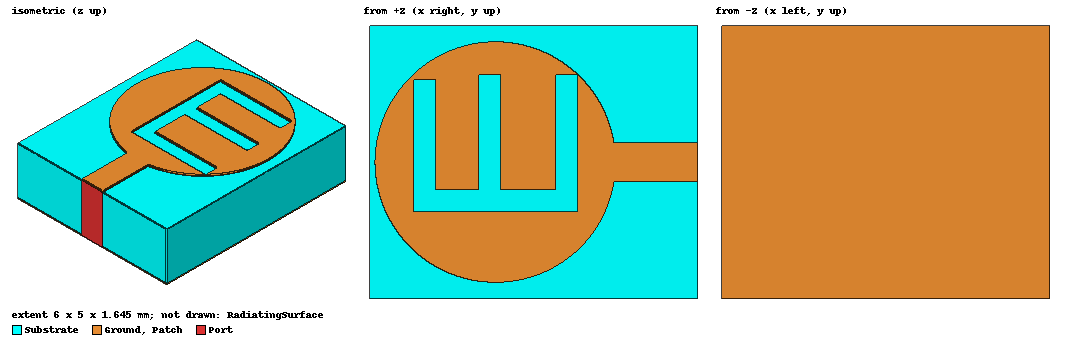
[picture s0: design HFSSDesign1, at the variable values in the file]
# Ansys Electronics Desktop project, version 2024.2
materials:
  vacuum: permittivity=1
  copper: permeability=0.999991 conductivity=58000000
  Rogers RT/duroid 5880 (tm): permittivity=2.2 dielectric_loss_tangent=0.0009
  PET: permittivity=3.6

design HFSSDesign1 (HFSS, HFSS Terminal Network, model units mm)
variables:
  Lg = 6mm
  W = 5mm
  Wg = 4
  Hp = 0.035mm
  Hs = 1.575mm
  a = 0.3mm
  Rp = 2.2mm
  Wf = 0.7mm
  Lf = 1.65mm
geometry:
  Ground [copper] = box(corner=(0mm, 0mm, 0mm), size=(Lg, W, Hp))
  Substrate [Rogers RT/duroid 5880 (tm)] = box(corner=(0mm, 0mm, Hp), size=(Lg, W, Hs))
  Patch [copper] = cylinder(axis=Z, base_centre=(a+Rp, W/2, Hp+Hs), radius=Rp, height=Hp)
  Feedline = box(corner=(a/2+2*Rp, W/2-Wf/2, Hp+Hs), size=(Lf, Wf, Hp))
  Patch.unite(Feedline)
  Port = rectangle(corner=(Lg, W/2-Wf/2, Hp+Hs), y_size=Wf, z_size=-(Hp+Hs))
  RadiatingSurface [vacuum] = region(absolute_offset=3.5714286mm on all sides)
  Patch.move(-0.2mm, 0mm, 0mm)
  Patch.move(0.4mm, 0mm, 0mm)
  Patch.move(-0.4mm, 0mm, 0mm)
  Patch.move(0.8mm, 0mm, 0mm)
  Patch.move(0.4mm, 0mm, 0mm)
  Patch.move(-0.4mm, 0mm, 0mm)
  Patch.move(-0.8mm, 0mm, 0mm)
  Slot_1 = box(corner=(0.8mm, 1.6mm, 0mm), size=(3mm, 0.4mm, 6mm))
  Slot_2 = box(corner=(0.8mm, 2mm, 0mm), size=(0.4mm, 2mm, 4.2mm))
  Slot_3 = box(corner=(0.8mm, 2mm, 0mm), size=(0.4mm, 2.2mm, 4.2mm))
  Slot_3.move(1.2mm, -0.1mm, 0mm)
  Slot_4 = box(corner=(0.8mm, 2mm, 0mm), size=(0.4mm, 2.2mm, 4.2mm))
  Slot_4.move(1.2mm, -0.1mm, 0mm)
  Slot_4.move(1.4mm, 0mm, 0mm)
  Patch.subtract(Slot_1..Slot_4)
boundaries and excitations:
  Open1: Radiation Objects=RadiatingSurface
  Port_T1: Terminal port=1 Edges=Patch.edge(at (6, 2.5, 1.61)) TerminalResistance=50ohm
  1: Lumped Port Faces=Port.face LumpedPortType=Terminal Impedance=50ohm
  reference conductors: Ground
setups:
  Setup1: HfssDriven Frequency=28GHz MaxDeltaS=0.02 MaximumPasses=20 MinimumPasses=1 MinimumConvergedPasses=1 PercentRefinement=30 BasisOrder=1 PortAccuracy=2 DrivenSolverType="Direct Solver"
    sweep Sweep: 15GHz to 70GHz, 201 points; Type=Fast SaveFields
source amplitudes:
  1:1: 1 0deg
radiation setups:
  3D: Infinite Sphere Theta=0deg..180deg step 2deg Phi=-180deg..180deg step 2deg
  Elevation: Infinite Sphere Theta=-180deg..180deg step 1deg Phi=0deg..90deg step 90deg
  Azimuth: Infinite Sphere Theta=90deg..90deg step 0deg Phi=-180deg..180deg step 1deg
  Infinite Sphere1: Infinite Sphere Theta=0deg..0deg step 0deg Phi=0deg..0deg step 0deg
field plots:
  Mag_Jsurf1, Mag_Jsurf2: Jsurf over Patch.face(+z end, -z end, at (5.23599, 2.15, 1.6275), at (5.23599, 2.85, 1.6275), at (6, 2.5, 1.6275)) on Setup1 : LastAdaptive at Freq=28GHz Phase=0deg
